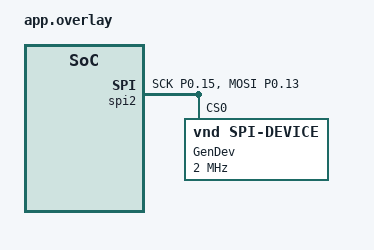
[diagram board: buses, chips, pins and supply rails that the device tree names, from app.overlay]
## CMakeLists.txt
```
cmake_minimum_required(VERSION 3.20.0)
find_package(Zephyr REQUIRED HINTS $ENV{ZEPHYR_BASE})

project(eink)

target_sources(app PRIVATE 
    src/main.c
    src/eink.c
    src/eink.h
)
```

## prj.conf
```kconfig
#Enable spi
CONFIG_SPI=y



#logging
CONFIG_LOG=y
CONFIG_LOG_DEFAULT_LEVEL=2
CONFIG_CONSOLE=y
CONFIG_PRINTK=y
CONFIG_USE_SEGGER_RTT=y
CONFIG_RTT_CONSOLE=y
CONFIG_UART_CONSOLE=n
CONFIG_SEGGER_RTT_BUFFER_SIZE_UP=4096
CONFIG_CBPRINTF_FP_SUPPORT=y
```

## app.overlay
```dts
#include <zephyr/dt-bindings/input/input-event-codes.h>
#include <zephyr/dt-bindings/pinctrl/nrf-pinctrl.h>



&pinctrl {
	spi2_default: spi2_default {
		group1 {
			psels = <NRF_PSEL(SPIM_SCK, 0, 15)>,
				<NRF_PSEL(SPIM_MOSI, 0, 13)>;
		};
	};
	spi2_sleep: spi2_sleep {
		group1 {
			psels = <NRF_PSEL(SPIM_SCK, 0, 15)>,
				<NRF_PSEL(SPIM_MOSI, 0, 13)>;
		};
	};
};

&spi2 {
        compatible = "nordic,nrf-spi";
        status = "okay";
        pinctrl-0 = <&spi2_default>;
        pinctrl-1 = <&spi2_sleep>;
        pinctrl-names = "default", "sleep";
        
        gendev: gendev@0 {
                compatible = "vnd,spi-device";
                reg = <0>;
                spi-max-frequency = <2000000>;
                label = "GenDev";
        };
};
```

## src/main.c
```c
#include <zephyr/kernel.h>
#include <zephyr/sys/printk.h>
#include "eink.h"
#include "draw.c"

int main(void)
{
        

        printk("Started\n");
        if (eink_init() != 0)
        {
                printk("Failed to initialize eink\n");
                return -1;
        }
        //Clear();

        //Reset();
        // Clear();

        // while (1) {
        //     k_sleep(K_SECONDS(5));
        // }

        // saveRawPBM("battery_0.pbm", (uint8_t*)batt[0], 48, 8);

        card_record_t austinCard;
        austinCard.valid = 1;
        strcpy(austinCard.first_name, "austin");
        strcpy(austinCard.last_name, "Lugo");
        strcpy(austinCard.last_four, "1234");
        displayCard(austinCard);

        printk("Passed card");
        char *errMsg = "err";
        displayErr(errMsg);
        // Display(frameBuffer);



        k_sleep(K_MSEC(2000)); // wait for 2 seconds
        char *msg = "Hello World";
        displayErr(msg);
        // k_busy_wait(1000000); // wait for 5 seconds
        //  displayBattery(4); // Display full battery level

        // k_busy_wait(1000000); // wait for 5 seconds
        displayBattery(0); // Display empty battery level

        return 0;
}
```

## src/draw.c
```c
#include <stdlib.h>
#include <stdint.h>
#include <string.h>
#include <stdio.h>
#include "eink.h"

void saveRawPBM(const char* filename, uint8_t* buffer, int width, int height);
int draw(char* string, int x, int y);
int drawScaled(char* string, int startX, int startY);
int drawLarge(char* string);
void reset_framebuff();
void drawCentered(char* string);

#define WIDTH 256
#define HEIGHT 120


uint8_t frameBuffer[IMG_BUF_SIZE];
uint8_t frameBufferCpy[IMG_BUF_SIZE];

static inline void setTransformedPixel(int x_src, int y_src) {
    if (x_src < 0 || x_src >= WIDTH || y_src < 0 || y_src >= HEIGHT) {
        return;
    }

    int x_dst = (EPD_WIDTH - 1) - (HEIGHT - 1 - y_src);
    int y_dst = (EPD_HEIGHT - 1) - x_src;  // keep the existing rotation

    if (x_dst < 0 || x_dst >= EPD_WIDTH || y_dst < 0 || y_dst >= EPD_HEIGHT) {
        return;
    }

    int bytesPerRow = (EPD_WIDTH + 7) / 8;
    int dstIndex = y_dst * bytesPerRow + (x_dst / 8);
    int dstBit = 7 - (x_dst % 8);

    frameBuffer[dstIndex] |= (1 << dstBit);
}

uint8_t alph[][12]={
/*-- 0  --*/
{0x00,0x00,0x70,0x88,0x88,0x88,0x88,0x88,0x88,0x70,0x00,0x00},
/*-- 1  --*/
{0x00,0x00,0x20,0x60,0x20,0x20,0x20,0x20,0x20,0x70,0x00,0x00},
/*-- 2  --*/
{0x00,0x00,0x70,0x88,0x88,0x10,0x20,0x40,0x80,0xF8,0x00,0x00},
/*-- 3  --*/
{0x00,0x00,0x70,0x88,0x08,0x30,0x08,0x08,0x88,0x70,0x00,0x00},
/*-- 4  --*/
{0x00,0x00,0x10,0x30,0x50,0x50,0x90,0x78,0x10,0x18,0x00,0x00},
/*-- 5  --*/
{0x00,0x00,0xF8,0x80,0x80,0xF0,0x08,0x08,0x88,0x70,0x00,0x00},
/*-- 6  --*/
{0x00,0x00,0x70,0x90,0x80,0xF0,0x88,0x88,0x88,0x70,0x00,0x00},
/*-- 7  --*/
{0x00,0x00,0xF8,0x90,0x10,0x20,0x20,0x20,0x20,0x20,0x00,0x00},
/*-- 8  --*/
{0x00,0x00,0x70,0x88,0x88,0x70,0x88,0x88,0x88,0x70,0x00,0x00},
/*-- 9  --*/
{0x00,0x00,0x70,0x88,0x88,0x88,0x78,0x08,0x48,0x70,0x00,0x00},

/*-- a  --*/
{0x00,0x00,0x00,0x00,0x00,0x30,0x48,0x38,0x48,0x3C,0x00,0x00},
/*-- b  --*/
{0x00,0x00,0xC0,0x40,0x40,0x70,0x48,0x48,0x48,0x70,0x00,0x00},
/*-- c  --*/
{0x00,0x00,0x00,0x00,0x00,0x38,0x48,0x40,0x40,0x38,0x00,0x00},
/*-- d  --*/
{0x00,0x00,0x18,0x08,0x08,0x38,0x48,0x48,0x48,0x3C,0x00,0x00},
/*-- e  --*/
{0x00,0x00,0x00,0x00,0x00,0x30,0x48,0x78,0x40,0x38,0x00,0x00},
/*-- f  --*/
{0x00,0x00,0x1C,0x20,0x20,0x78,0x20,0x20,0x20,0x78,0x00,0x00},
/*-- g  --*/
{0x00,0x00,0x00,0x00,0x00,0x3C,0x48,0x30,0x40,0x78,0x44,0x38},
/*-- h  --*/
{0x00,0x00,0xC0,0x40,0x40,0x70,0x48,0x48,0x48,0xEC,0x00,0x00},
/*-- i  --*/
{0x00,0x00,0x20,0x00,0x00,0x60,0x20,0x20,0x20,0x70,0x00,0x00},
/*-- j  --*/
{0x00,0x00,0x10,0x00,0x00,0x30,0x10,0x10,0x10,0x10,0x10,0xE0},
/*-- k  --*/
{0x00,0x00,0xC0,0x40,0x40,0x5C,0x50,0x70,0x48,0xEC,0x00,0x00},
/*-- l  --*/
{0x00,0x00,0xE0,0x20,0x20,0x20,0x20,0x20,0x20,0xF8,0x00,0x00},
/*-- m  --*/
{0x00,0x00,0x00,0x00,0x00,0xF0,0xA8,0xA8,0xA8,0xA8,0x00,0x00},
/*-- n  --*/
{0x00,0x00,0x00,0x00,0x00,0xF0,0x48,0x48,0x48,0xEC,0x00,0x00},
/*-- o  --*/
{0x00,0x00,0x00,0x00,0x00,0x30,0x48,0x48,0x48,0x30,0x00,0x00},
/*-- p  --*/
{0x00,0x00,0x00,0x00,0x00,0xF0,0x48,0x48,0x48,0x70,0x40,0xE0},
/*-- q  --*/
{0x00,0x00,0x00,0x00,0x00,0x38,0x48,0x48,0x48,0x38,0x08,0x1C},
/*-- r  --*/
{0x00,0x00,0x00,0x00,0x00,0xD8,0x60,0x40,0x40,0xE0,0x00,0x00},
/*-- s  --*/
{0x00,0x00,0x00,0x00,0x00,0x78,0x40,0x30,0x08,0x78,0x00,0x00},
/*-- t  --*/
{0x00,0x00,0x00,0x20,0x20,0x70,0x20,0x20,0x20,0x18,0x00,0x00},
/*-- u  --*/
{0x00,0x00,0x00,0x00,0x00,0xD8,0x48,0x48,0x48,0x3C,0x00,0x00},
/*-- v  --*/
{0x00,0x00,0x00,0x00,0x00,0xEC,0x48,0x50,0x30,0x20,0x00,0x00},
/*-- w  --*/
{0x00,0x00,0x00,0x00,0x00,0xA8,0xA8,0x70,0x50,0x50,0x00,0x00},
/*-- x  --*/
{0x00,0x00,0x00,0x00,0x00,0xD8,0x50,0x20,0x50,0xD8,0x00,0x00},
/*-- y  --*/
{0x00,0x00,0x00,0x00,0x00,0xEC,0x48,0x50,0x30,0x20,0x20,0xC0},
/*-- z  --*/
{0x00,0x00,0x00,0x00,0x00,0x78,0x10,0x20,0x20,0x78,0x00,0x00},

/*--     --*/
{0x00,0x00,0x00,0x00,0x00,0x00,0x00,0x00,0x00,0x00,0x00,0x00},
/*-- Error --*/
{0xAA,0x55,0xAA,0x55,0xAA,0x55,0xAA,0x55,0xAA,0x55,0xAA,0x55},
};   

static uint16_t alph_scaled[sizeof(alph) / sizeof(alph[0])][24];
static int alph_scaled_ready = 0;

static void buildAlphScaled(float scale, int out_width, int out_height, uint16_t* output, int row_size) {
    int chars = sizeof(alph) / sizeof(alph[0]);
    for (int ci = 0; ci < chars; ci++) {
        for (int ry = 0; ry < out_height; ry++) {
            int sy = (int)((ry * 12) / out_height);
            if (sy >= 12) sy = 11;
            uint16_t row = 0;
            for (int rx = 0; rx < out_width; rx++) {
                int sx = (int)((rx * 8) / out_width);
                if (sx >= 8) sx = 7;
                if (alph[ci][sy] & (1 << (7 - sx))) {
                    row |= (1u << (15 - rx));
                }
            }
            output[ci * row_size + ry] = row;
        }
    }
}

static int twoXWidth = 16;
static int twoXHeight = 24;
static int vertical_border = 4;
static int horizontal_border = 10;
static void buildAlph2x(void) {
    if (alph_scaled_ready) {
        return;
    }
    buildAlphScaled(2.0, twoXWidth, twoXHeight, (uint16_t*)alph_scaled, twoXHeight);
    alph_scaled_ready = 1;
}

const uint16_t digits[11][24] = {
    // 0
    {
        0x0000,0x0000,0x0000,0x0000,
        0x1F80,0x30C0,0x6060,0x6060,
        0x60E0,0x61E0,0x6360,0x6660,
        0x6C60,0x7860,0x7060,0x6060,
        0x6060,0x30C0,0x1F80,0x0000,
        0x0000,0x0000,0x0000,0x0000
    },

    // 1
    {
        0x0000,0x0000,0x0000,0x0000,
        0x0E00,0x1E00,0x3600,0x2600,
        0x0600,0x0600,0x0600,0x0600,
        0x0600,0x0600,0x0600,0x0600,
        0x0600,0x0600,0x3FC0,0x0000,
        0x0000,0x0000,0x0000,0x0000
    },

    // 2
    {
        0x0000,0x0000,0x0000,0x0000,
        0x1F80,0x30C0,0x6060,0x0060,
        0x0060,0x0060,0x00C0,0x0180,
        0x0300,0x0600,0x0C00,0x1800,
        0x3000,0x6060,0x7FE0,0x0000,
        0x0000,0x0000,0x0000,0x0000
    },

    // 3
    {
        0x0000,0x0000,0x0000,0x0000,
        0x1F80,0x30C0,0x6060,0x0060,
        0x0060,0x00C0,0x0F80,0x00C0,
        0x0060,0x0060,0x0060,0x0060,
        0x6060,0x30C0,0x1F80,0x0000,
        0x0000,0x0000,0x0000,0x0000
    },

    // 4
    {
        0x0000,0x0000,0x0000,0x0000,
        0x6000,0x6000,0x6000,0x6180,
        0x6180,0x6180,0x6180,0x6180,
        0x6180,0x6180,0x7FE0,0x0180,
        0x0180,0x0180,0x0180,0x0000,
        0x0000,0x0000,0x0000,0x0000
    },

    // 5
    {
        0x0000,0x0000,0x0000,0x0000,
        0x7FE0,0x6060,0x6000,0x6000,
        0x6000,0x6000,0x7F80,0x00C0,
        0x0060,0x0060,0x0060,0x0060,
        0x6060,0x30C0,0x1F80,0x0000,
        0x0000,0x0000,0x0000,0x0000
    },

    // 6
    {
        0x0000,0x0000,0x0000,0x0000,
        0x1FC0,0x3060,0x6000,0x6000,
        0x6000,0x6000,0x7F80,0x60C0,
        0x6060,0x6060,0x6060,0x6060,
        0x6060,0x30C0,0x1F80,0x0000,
        0x0000,0x0000,0x0000,0x0000
    },

    // 7
    {
        0x0000,0x0000,0x0000,0x0000,
        0x7FE0,0x6060,0x0060,0x0060,
        0x0060,0x00C0,0x0180,0x0300,
        0x0600,0x0C00,0x0C00,0x0C00,
        0x0C00,0x0C00,0x0C00,0x0000,
        0x0000,0x0000,0x0000,0x0000
    },

    // 8
    {
        0x0000,0x0000,0x0000,0x0000,
        0x1F80,0x30C0,0x6060,0x6060,
        0x6060,0x30C0,0x1F80,0x30C0,
        0x6060,0x6060,0x6060,0x6060,
        0x6060,0x30C0,0x1F80,0x0000,
        0x0000,0x0000,0x0000,0x0000
    },

    // 9
    {
        0x0000,0x0000,0x0000,0x0000,
        0x1F80,0x30C0,0x6060,0x6060,
        0x6060,0x6060,0x6060,0x3060,
        0x1FE0,0x0060,0x0060,0x0060,
        0x0060,0x60C0,0x3F80,0x0000,
        0x0000,0x0000,0x0000,0x0000
    },
    //BROKEN
    {
    0x0000, 0x0000, 0x0000, 0x0000, 
    0x0000, 0x0000, 0x0000, 0x0000, 
    0x0000, 0x0800, 0x0800, 0x0800, 
    0x6B60, 0x1C70, 0x0800, 0x1C70, 
    0x0800, 0x6B60, 0x0800, 0x0800, 
    0x0000, 0x0000, 0x0000, 0x0000
    }
};


const uint8_t batt[][48] = { //16 x 24
    // =========================
    // 0% EMPTY
    // =========================
    {
        0x00,0x00, 0x00,0x03,0xFF,0xFE,
        0x02,0x00, 0x02,0x02,0x00,0x02,
        0x7E,0x00, 0x02,0x7E,0x00,0x02,
        0x7E,0x00, 0x02,0x7E,0x00,0x02,
        0x7E,0x00, 0x02,0x7E,0x00,0x02,
        0x7E,0x00, 0x02,0x7E,0x00,0x02,
        0x7E,0x00, 0x02,0x02,0x00,0x02,
        0x02,0x00, 0x02,0x03,0xFF,0xFE
    },

    // =========================
    // 25% (low fill)
    // =========================
    {
        0x00,0x00, 0x00,0x03,0xFF,0xFE,
        0x02,0x00, 0x02,0x02,0x00,0x02,
        0x6E,0x00, 0x02,0x6E,0x00,0x02,
        0x6E,0x00, 0x02,0x6E,0x00,0x02,
        0x6E,0x00, 0x02,0x6E,0x00,0x02,
        0x7E,0x00, 0x02,0x7E,0x00,0x02,
        0x7E,0x00, 0x02,0x02,0x00,0x02,
        0x02,0x00, 0x02,0x03,0xFF,0xFE
    },

    // =========================
    // 50%
    // =========================
    {
        0x00,0x00, 0x00,0x03,0xFF,0xFE,
        0x02,0x00, 0x02,0x02,0x00,0x02,
        0x4E,0x00, 0x02,0x4E,0x00,0x02,
        0x4E,0x00, 0x02,0x4E,0x00,0x02,
        0x4E,0x00, 0x02,0x4E,0x00,0x02,
        0x6E,0x00, 0x02,0x6E,0x00,0x02,
        0x7E,0x00, 0x02,0x02,0x00,0x02,
        0x02,0x00, 0x02,0x03,0xFF,0xFE
    },

    // =========================
    // 75%
    // =========================
    {
        0x00,0x00, 0x00,0x03,0xFF,0xFE,
        0x02,0x00, 0x02,0x02,0x00,0x02,
        0x2E,0x00, 0x02,0x2E,0x00,0x02,
        0x2E,0x00, 0x02,0x2E,0x00,0x02,
        0x2E,0x00, 0x02,0x2E,0x00,0x02,
        0x4E,0x00, 0x02,0x4E,0x00,0x02,
        0x7E,0x00, 0x02,0x02,0x00,0x02,
        0x02,0x00, 0x02,0x03,0xFF,0xFE
    },

    // =========================
    // 100% FULL
    // =========================
    {
        0x00,0x00, 0x00,0x03,0xFF,0xFE,
        0x02,0x00, 0x02,0x02,0x00,0x02,
        0xEE,0x00, 0x02,0xEE,0x00,0x02,
        0xEE,0x00, 0x02,0xEE,0x00,0x02,
        0xEE,0x00, 0x02,0xEE,0x00,0x02,
        0xEE,0x00, 0x02,0xEE,0x00,0x02,
        0xEE,0x00, 0x02,0x02,0x00,0x02,
        0x02,0x00, 0x02,0x03,0xFF,0xFE
    }
};
//     { //Empty
//         0x00, 0x00, 0x00, 0x03, 0xFF, 
//         0xFE, 0x02, 0x00, 0x02, 0x02, 
//         0x00, 0x02, 0x7E, 0x00, 0x02, 
//         0x7E, 0x00, 0x02, 0x7E, 0x00, 
//         0x02, 0x7E, 0x00, 0x02, 0x7E, 
//         0x00, 0x02, 0x7E, 0x00, 0x02, 
//         0x7E, 0x00, 0x02, 0x7E, 0x00, 
//         0x02, 0x02, 0x00, 0x02, 0x02, 
//         0x00, 0x02, 0x03, 0xFF, 0xFE, 
//         0x00, 0x00, 0x00
//     },
//     {

//     },
//     { //3/4 Battery
//         0x00, 0x00, 0x00, 0x03, 0xFF,
//         0xFE, 0x02, 0x00, 0x02, 0x02,
//         0x0F, 0x7A, 0x7E, 0x0F, 0x7A,
//         0x7E, 0x0F, 0x7A, 0x7E, 0x0F,
//         0x7A, 0x7E, 0x0F, 0x7A, 0x7E,
//         0x0F, 0x7A, 0x7E, 0x0F, 0x7A,
//         0x7E, 0x0F, 0x7A, 0x7E, 0x0F,
//         0x7A, 0x02, 0x0F, 0x7A, 0x02,
//         0x00, 0x02, 0x03, 0xFF, 0xFE,
//         0x00, 0x00, 0x00
//     },
//     {//Full Battery
//         0x00, 0x00, 0x00, 0x03, 0xFF,
//         0xFE, 0x02, 0x00, 0x02, 0x02,
//         0xEF, 0x7A, 0x7E, 0xEF, 0x7A,
//         0x7E, 0xEF, 0x7A, 0x7E, 0xEF,
//         0x7A, 0x7E, 0xEF, 0x7A, 0x7E,
//         0xEF, 0x7A, 0x7E, 0xEF, 0x7A,
//         0x7E, 0xEF, 0x7A, 0x7E, 0xEF,
//         0x7A, 0x02, 0xEF, 0x7A, 0x02,
//         0x00, 0x02, 0x03, 0xFF, 0xFE,
//         0x00, 0x00, 0x00
//     }

// };

// int main() {



//     //drawCentered("********01234");
//     drawLarge("WOW letters and numbers only 12345");
//     //saveRawPBM("Out.pbm", frameBuffer, WIDTH, HEIGHT);
//     printf("We done");
// }



void drawCentered(char* string) {
    int len = strlen(string);
    int startX = 0;
    int startY = (HEIGHT - 24) / 2;

    for (int i = 0; i < len; i++) {
        // 2. Get character data (using your previous mapping logic)
        const uint16_t* drawChar;
        char c = string[i];
        
        if (c >= '0' && c <= '9')      drawChar = digits[c - '0'];
        else                           drawChar = digits[11];

        // 3. Draw the character
        for (int j = 0; j < 24; j++) {
            uint16_t rowData = drawChar[j];
            int currentY = startY + j;
            
            // Calculate pixel position for the start of this character
            int currentX = startX + (i * 12);

            // Since we are bit-packed, we have to be careful with 12-pixel widths.
            // We draw bit-by-bit to ensure we don't overwrite neighboring chars.
            for (int bit = 0; bit < 12; bit++) {
                if (rowData & (1 << (15 - bit))) {
                    int pixelX = currentX + bit;
                    setTransformedPixel(pixelX, currentY);
                }
            }
        }
    }
}

int displayCard(card_record_t cardData){
    Reset();
    reset_framebuff();
    if (cardData.valid) {
        drawScaled(cardData.last_four, horizontal_border, vertical_border);
        char fullName[40];
        sprintf(fullName, "%s %s", cardData.first_name, cardData.last_name);
        drawScaled(fullName, horizontal_border, twoXHeight + vertical_border);
    }

    Display(frameBuffer);
    return 0;
}

static void clearSourceRegionToEnd(int startX, int startY) {
    if (startX < 0) startX = 0;
    if (startY < 0) startY = 0;
    if (startX >= WIDTH || startY >= HEIGHT) return;

    for (int y = startY; y < HEIGHT; y++) {
        int x_begin = (y == startY) ? startX : 0;
        for (int x = x_begin; x < WIDTH; x++) {
            int x_dst = (EPD_WIDTH - 1) - (HEIGHT - 1 - y);
            int y_dst = (EPD_HEIGHT - 1) - x;

            if (x_dst < 0 || x_dst >= EPD_WIDTH || y_dst < 0 || y_dst >= EPD_HEIGHT) {
                continue;
            }

            int bytesPerRow = (EPD_WIDTH + 7) / 8;
            int dstIndex = y_dst * bytesPerRow + (x_dst / 8);
            int dstBit = 7 - (x_dst % 8);

            frameBuffer[dstIndex] &= ~(1 << dstBit);
        }
    }
}

int displayErr(char* errMsg){
    Reset();
    if(alph_scaled_ready == 0){
        buildAlph2x();
    }
    int startX = horizontal_border; 
    int startY = (twoXHeight * 3) + vertical_border; 
    clearSourceRegionToEnd(startX, startY);
    drawScaled(errMsg, startX, startY); 
    
    Display(frameBuffer);

    return 0;

}

void displayBattery(int level) {
    Reset();

    if (level < 0) level = 0;
    if (level > 2) level = 2;

    // ----------------------------
    // TEXT LABELS FOR LEVELS
    // ----------------------------
    char* label;

    switch(level) {
        case 0: label = "EMPTY"; break;
        case 1: label = "LOW"; break;
        case 2: label = "FULL"; break;
        default: label = "ERR"; break;
    }

    const int bw = 24;
    const int bh = 16;

    int startX = WIDTH - (2 * bw);
    int startY = 0;

    // ----------------------------
    // 1. CLEAR EXACT SAME TRANSFORMED PIXELS
    // ----------------------------
    for (int y = 0; y < bh; y++) {
        for (int x = 0; x < bw; x++) {

            int x_src = startX + x;
            int y_src = startY + y;

            int x_dst = y_src;
            int y_dst = (EPD_HEIGHT - 1) - x_src;

            if (x_dst < 0 || x_dst >= EPD_WIDTH ||
                y_dst < 0 || y_dst >= EPD_HEIGHT) {
                continue;
            }

            int bytesPerRow = (EPD_WIDTH + 7) / 8;
            int dstIndex = y_dst * bytesPerRow + (x_dst / 8);
            int dstBit = (x_dst % 8);

            frameBuffer[dstIndex] &= ~(1 << dstBit);
        }
    }

    // ----------------------------
    // 2. DRAW TEXT INSTEAD OF ICON
    // ----------------------------
    draw(label, startX, startY);

    Display(frameBuffer);
}

// int clearError(){
//     int startX = horizontal_border;
//     int startY = (twoXHeight * 3) + vertical_border;

//     drawScaled(errMsg, startX, startY);

//     return 0;
// }

void reset_framebuff(){
    buildAlph2x();
    for (int i = 0; i < IMG_BUF_SIZE; i++) {
        frameBuffer[i] = 0;
    }
}

int draw(char* string, int startX, int startY){
    int charPerRow = 16;

    for(int i = 0; string[i] != '\0'; i++){
        if(i >= 10 * charPerRow){
            draw("String too long", startX, startY);
            return -1;
        }

        char curChar = string[i];
        const uint8_t* drawChar;

        if (curChar >= '0' && curChar <= '9') {
            drawChar = alph[curChar - '0'];
        }
        else if (curChar >= 'A' && curChar <= 'Z') {
            drawChar = alph[curChar - 'A' + 10];
        }
        else if (curChar >= 'a' && curChar <= 'z') {
            drawChar = alph[curChar - 'a' + 10];
        }
        else if (curChar == ' ') {
            drawChar = alph[36];
        }
        else {
            drawChar = alph[37];
        }

        int charX = i % charPerRow;
        int charY = i / charPerRow;

        int baseX = startX + charX * 8;
        int baseY = startY + charY * 12;

        for(int j = 0; j < 12; j++) {
            uint8_t row = drawChar[j];
            int y_src = baseY + j;

            for (int bit = 0; bit < 8; bit++) {
                if (row & (1 << (7 - bit))) {
                    int x_src = baseX + bit;
                    setTransformedPixel(x_src, y_src);
                }
            }
        }
    }

    return 0;
}

int drawScaled(char* string, int startX, int startY) {
    int charPerRow = 16;

    for (int i = 0; string[i] != '\0'; i++) {
        if (i >= 10 * charPerRow) {
            return -1;
        }

        const uint16_t* drawChar;
        char c = string[i];

        if (c >= '0' && c <= '9')      drawChar = alph_scaled[c - '0'];
        else if (c >= 'A' && c <= 'Z') drawChar = alph_scaled[c - 'A' + 10];
        else if (c >= 'a' && c <= 'z') drawChar = alph_scaled[c - 'a' + 10];
        else if (c == ' ')             drawChar = alph_scaled[36];
        else                           drawChar = alph_scaled[37];

        int charX = i % charPerRow;
        int charY = i / charPerRow;

        for (int j = 0; j < 24; j++) {
            uint16_t row = drawChar[j];
            int y_src = startY + charY * 24 + j;
            if (y_src >= HEIGHT) continue;

            for (int bit = 0; bit < 16; bit++) {
                if (row & (1 << (15 - bit))) {
                    int x_src = startX + charX * 16 + bit;
                    setTransformedPixel(x_src, y_src);
                }
            }
        }
    }
    return 0;
}

int drawLarge(char* string) {
    reset_framebuff();
    int charPerRow = 16;        // 256 pixels / 16 pixels per char = 16

    for (int i = 0; string[i] != '\0'; i++) {
        if (i >= 5 * charPerRow) {
            reset_framebuff();
            drawLarge("String too long");
            return -1;
        }
        const uint8_t* drawChar;
        char c = string[i];

        if (c >= '0' && c <= '9')      drawChar = alph[c - '0'];
        else if (c >= 'A' && c <= 'Z') drawChar = alph[c - 'A' + 10];
        else if (c >= 'a' && c <= 'z') drawChar = alph[c - 'a' + 10];
        else if (c == ' ')             drawChar = alph[36];
        else                           drawChar = alph[37];

        int charX = i % charPerRow;
        int charY = i / charPerRow;

        for (int j = 0; j < 12; j++) {
            uint8_t fontByte = drawChar[j];
            uint16_t expandedRow = 0;

            for (int bit = 0; bit < 8; bit++) {
                if (fontByte & (1 << (7 - bit))) {
                    expandedRow |= (3 << (14 - (bit * 2)));
                }
            }

            for (int v = 0; v < 2; v++) {
                int pixelRow = (charY * 24) + (j * 2 + v);
                if (pixelRow >= HEIGHT) continue;

                for (int bit = 0; bit < 16; bit++) {
                    if (expandedRow & (1 << (15 - bit))) {
                        int x_src = charX * 16 + bit;
                        int y_src = pixelRow;
                        setTransformedPixel(x_src, y_src);
                    }
                }
            }
        }
    }
    return 0;
}

void saveRawPBM(const char* filename, uint8_t* buffer, int width, int height){
    FILE* f = fopen(filename, "wb");

    fprintf(f, "P4\n%d %d \n", width, height);

    int bufferSize = (width*height)/8;
    fwrite(buffer, 1, bufferSize, f);

    fclose(f);
}
```

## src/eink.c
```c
#include "eink.h"
#include <zephyr/drivers/spi.h>
#include <zephyr/device.h>
#include <hal/nrf_gpio.h>
#include <zephyr/sys/printk.h>



//SPI pin
struct spi_dt_spec spispec = SPI_DT_SPEC_GET(DT_NODELABEL(gendev), SPIOP, 0); //SPI_DT_SPEC_GET(DT_NODELABEL(gendev), SPIOP, 10);


//GPIO pins
static int cs_pin = 3;
static int reset_pin = 29;
static int busy_pin = 0;
static int dc_pin = 4;
// static int test_pin = 17;

//static int debug_pin = 30;



static int count;
static int bufwidth;
static int bufheight;


//Initialize gpios
int eink_init(void) {
    // nrf_gpio_cfg(
    //     dc_pin,
    //     NRF_GPIO_PIN_DIR_OUTPUT,
    //     NRF_GPIO_PIN_INPUT_DISCONNECT,
    //     NRF_GPIO_PIN_NOPULL,
    //     NRF_GPIO_PIN_H0H1,   // ← HIGH DRIVE
    //     NRF_GPIO_PIN_NOSENSE
    // );
    nrf_gpio_cfg_output(dc_pin);
    nrf_gpio_cfg_output(cs_pin);
    nrf_gpio_cfg_input(busy_pin, NRF_GPIO_PIN_PULLUP);
    nrf_gpio_cfg_output(reset_pin);
    //nrf_gpio_cfg_output(debug_pin);
    //nrf_gpio_cfg_output(test_pin);

    bufwidth = 128/8;  //16
    bufheight = 63;
    count = 0;

    //CS and DC pins should be HIGH by default
    DigitalWrite(cs_pin, HIGH);
    DigitalWrite(dc_pin, HIGH);

    //Reset pin initialization
    DigitalWrite(reset_pin, HIGH);
    //DigitalWrite(debug_pin, LOW);
    //DigitalWrite(test_pin, HIGH);

    
    return Init(FULL_MODE);
}

//Write a value to a GPIO pin
void DigitalWrite(int pin, int value) {
    if (value == LOW) {
        nrf_gpio_pin_clear(pin);
    } else {
        nrf_gpio_pin_set(pin);
    }
    
}

//Read a value from a GPIO pin
int DigitalRead(int pin) {
    return nrf_gpio_pin_read(pin);
}

//Send a byte over SPI
void SpiTransfer(unsigned char data) {
    if (!device_is_ready(spispec.bus)) {
        printk("SPI bus not ready\n");
        return;
    }
    DigitalWrite(cs_pin, LOW);
    struct spi_buf buf = {
        .buf = &data,
        .len = 1
    };
    struct spi_buf_set tx_bufs = {
        .buffers = &buf,
        .count = 1
    };
    int ret = spi_write_dt(&spispec, &tx_bufs);
    if (ret < 0) {
        // Handle error (e.g., log or return)
        printk("SPI transfer failed: %d\n", ret);
    }
    DigitalWrite(cs_pin, HIGH);
}



/******************************************************************************
function :	send command
parameter:
     command : Command register
******************************************************************************/
void SendCommand(unsigned char command)
{
    DigitalWrite(dc_pin, LOW);
    SpiTransfer(command);
    //DigitalWrite(dc_pin, HIGH);
    //k_sleep(K_MSEC(1)); // Add a small delay after sending the command
}

/******************************************************************************
function :	send data
parameter:
    Data : Write data
******************************************************************************/
void SendData(unsigned char data)
{
    DigitalWrite(dc_pin, HIGH);
    SpiTransfer(data);
    //k_sleep(K_MSEC(1)); // Add a small delay after sending the data
}

/******************************************************************************
function :	Wait until the busy_pin goes LOW
parameter:
******************************************************************************/
void WaitUntilIdle(void)
{
    int busy_count;
    for(busy_count = 0; busy_count < 1000; busy_count++) {      //LOW: idle, HIGH: busy
        if(DigitalRead(busy_pin) == 0) { //TODO: check this? In the provided code it was 0 but it seems like the eink is pulling it low when busy
            break;
        }
        k_sleep(K_MSEC(1));
        
    }

    //printk("Waited for %d ms\n", (busy_count) * 1);
}

/******************************************************************************
function :	Setting the display window
parameter:
	Xstart : X-axis starting position
	Ystart : Y-axis starting position
	Xend : End position of X-axis
	Yend : End position of Y-axis
******************************************************************************/
void SetWindows(unsigned char Xstart, unsigned char Ystart, unsigned char Xend, unsigned char Yend)
{
    SendCommand(0x44); // SET_RAM_X_ADDRESS_START_END_POSITION
    SendData((Xstart>>3) & 0xFF);
    SendData((Xend>>3) & 0xFF);
	
    SendCommand(0x45); // SET_RAM_Y_ADDRESS_START_END_POSITION
    SendData(Ystart & 0xFF);
    SendData((Ystart >> 8) & 0xFF);
    SendData(Yend & 0xFF);
    SendData((Yend >> 8) & 0xFF);
}

/******************************************************************************
function :	Set Cursor
parameter:
	Xstart : X-axis starting position
	Ystart : Y-axis starting position
******************************************************************************/
void SetCursor(unsigned char Xstart, unsigned char Ystart)
{
    SendCommand(0x4E); // SET_RAM_X_ADDRESS_COUNTER
    SendData(Xstart & 0xFF);

    SendCommand(0x4F); // SET_RAM_Y_ADDRESS_COUNTER
    SendData(Ystart & 0xFF);
    SendData((Ystart >> 8) & 0xFF);
}



/******************************************************************************
function :	Initialize the e-Paper register
parameter:
	Mode : Mode selection
******************************************************************************/
int Init(char Mode)
{
    /* this calls the peripheral hardware interface, see epdif */
    Reset();
    
    //int count;
    if(Mode == FULL_MODE) {
        WaitUntilIdle();
        SendCommand(0x12); // soft reset
        WaitUntilIdle();

        //DigitalWrite(debug_pin, HIGH);
        SendCommand(0x01); //Driver output control
        SendData(0xF9);
        SendData(0x00);
        SendData(0x00);

        SendCommand(0x11); //data entry mode
        SendData(0x03);

		SetWindows(0, 0, EPD_WIDTH-1, EPD_HEIGHT-1);
		SetCursor(0, 0);
		
		SendCommand(0x3C); //BorderWavefrom
		SendData(0x05);	

		SendCommand(0x21); //  Display update control
		SendData(0x00);
		SendData(0x80);	

		SendCommand(0x18); //Read built-in temperature sensor
		SendData(0x80);	
		WaitUntilIdle();
    } 
    else if(Mode == FAST_MODE) {
        WaitUntilIdle();
        SendCommand(0x12); // soft reset
        WaitUntilIdle();

        SendCommand(0x18); // Read built-in temperature sensor
		SendData(0x80);	

        SendCommand(0x11); // data entry mode
        SendData(0x03);

		SetWindows(0, 0, EPD_WIDTH-1, EPD_HEIGHT-1);
		SetCursor(0, 0);
		
		SendCommand(0x22); // Load temperature value
		SendData(0xB1);	
        SendCommand(0x20);
        WaitUntilIdle();

		SendCommand(0x1A); //  Write to temperature register
		SendData(0x64);
		SendData(0x00);	

        SendCommand(0x22); //  Load temperature value
		SendData(0x91);
		SendCommand(0x20);	
		WaitUntilIdle();
    }
    else if(Mode == PART_MODE) {	
		DigitalWrite(reset_pin, LOW);                //module reset
		k_sleep(K_MSEC(1));
		DigitalWrite(reset_pin, HIGH);
		
		SendCommand(0x3C); //BorderWavefrom
		SendData(0x80);	

        SendCommand(0x01); //Driver output control
		SendData(0xF9);	
        SendData(0x00);	
        SendData(0x00);	
	
		SendCommand(0x11); // data entry mode
        SendData(0x03); 
		
		SetWindows(0, 0, EPD_WIDTH-1, EPD_HEIGHT-1);
		SetCursor(0, 0);
    } else {
        return -1;
    }

    return 0;
}

/******************************************************************************
function :	Software reset
parameter:
******************************************************************************/
void Reset(void)
{
    DigitalWrite(reset_pin, HIGH);
    k_sleep(K_MSEC(2));
    DigitalWrite(reset_pin, LOW);     
    k_sleep(K_MSEC(1));
    DigitalWrite(reset_pin, HIGH);
    k_sleep(K_MSEC(2));
    count = 0; 
}

/******************************************************************************
function :	Clear screen
parameter:
******************************************************************************/
void Clear(void)
{
    int w, h;
    w = (EPD_WIDTH % 8 == 0)? (EPD_WIDTH / 8 ): (EPD_WIDTH / 8 + 1);
    h = EPD_HEIGHT;
    SendCommand(0x24);
    for (int j = 0; j < h; j++) {
        for (int i = 0; i < w; i++) {
            SendData(0xff);
        }
    }

    //DISPLAY REFRESH
    SendCommand(0x22);
    SendData(0xf7);
    SendCommand(0x20);
    WaitUntilIdle();
}

/******************************************************************************
function :	Sends the image buffer in RAM to e-Paper and displays
parameter:
	frame_buffer : Image data
******************************************************************************/
void Display(unsigned char* frame_buffer)
{
    int w = (EPD_WIDTH % 8 == 0)? (EPD_WIDTH / 8 ): (EPD_WIDTH / 8 + 1);
    int h = EPD_HEIGHT;

    if (frame_buffer != NULL) {
        SendCommand(0x24);
        for (int j = 0; j < h; j++) {
            for (int i = 0; i < w; i++) {
                SendData(frame_buffer[i + j * w]);
                //printk("%02x", frame_buffer[i + j * w]);
            }
            //printk("\n");
        }
    }

    
    
    
    //DISPLAY REFRESH
    SendCommand(0x22);
    SendData(0xf7);
    SendCommand(0x20);
    WaitUntilIdle();

}

void Display1(unsigned char* frame_buffer) {
    if(count == 0){
        SendCommand(0x24);
        count++;
    }else if(count > 0 && count < 4 ){
        count++;
    }
    for(int i = 0; i < bufwidth * bufheight; i++){
            SendData(frame_buffer[i]);
    }
    if(count == 4){
        SendCommand(0x22);
        SendData(0xf7);
        SendCommand(0x20);
        WaitUntilIdle();
        count = 0;
    }
}

/******************************************************************************
function :	Sends the image buffer in RAM to e-Paper and fast displays
parameter:
	frame_buffer : Image data
******************************************************************************/
void Display_Fast(unsigned char* frame_buffer)
{
    int w = (EPD_WIDTH % 8 == 0)? (EPD_WIDTH / 8 ): (EPD_WIDTH / 8 + 1);
    int h = EPD_HEIGHT;

    if (frame_buffer != NULL) {
        SendCommand(0x24);
        for (int j = 0; j < h; j++) {
            for (int i = 0; i < w; i++) {
                SendData(frame_buffer[i + j * w]);
            }
        }
    }

    //DISPLAY REFRESH
    SendCommand(0x22);
    SendData(0xC7);
    SendCommand(0x20);
    WaitUntilIdle();
}




/******************************************************************************
function :	Refresh a base image
parameter:
	frame_buffer : Image data	
******************************************************************************/
void DisplayPartBaseImage(unsigned char* frame_buffer)
{
    int w = (EPD_WIDTH % 8 == 0)? (EPD_WIDTH / 8 ): (EPD_WIDTH / 8 + 1);
    int h = EPD_HEIGHT;

    if (frame_buffer != NULL) {
        SendCommand(0x24);
        for (int j = 0; j < h; j++) {
            for (int i = 0; i < w; i++) {
                SendData(frame_buffer[i + j * w]);
            }
        }

        SendCommand(0x26);
        for (int j = 0; j < h; j++) {
            for (int i = 0; i < w; i++) {
                SendData(frame_buffer[i + j * w]);
            }
        }
    }

    //DISPLAY REFRESH
    SendCommand(0x22);
    SendData(0xf7);
    SendCommand(0x20);
    WaitUntilIdle();
}

/******************************************************************************
function :	Sends the image buffer in RAM to e-Paper and partial refresh
parameter:
	frame_buffer : Image data
******************************************************************************/
void DisplayPart(unsigned char* frame_buffer)
{
    int w = (EPD_WIDTH % 8 == 0)? (EPD_WIDTH / 8 ): (EPD_WIDTH / 8 + 1);
    int h = EPD_HEIGHT;

    if (frame_buffer != NULL) {
        SendCommand(0x24);
        for (int j = 0; j < h; j++) {
            for (int i = 0; i < w; i++) {
                SendData(frame_buffer[i + j * w]);
            }
        }
    }

    //DISPLAY REFRESH
    SendCommand(0x22);
    SendData(0xff);
    SendCommand(0x20);
    WaitUntilIdle();
}

/******************************************************************************
function :	Clear screen
parameter:
******************************************************************************/
void ClearPart(void)
{
    int w, h;
    w = (EPD_WIDTH % 8 == 0)? (EPD_WIDTH / 8 ): (EPD_WIDTH / 8 + 1);
    h = EPD_HEIGHT;
    SendCommand(0x24);
    for (int j = 0; j < h; j++) {
        for (int i = 0; i < w; i++) {
            SendData(0xff);
        }
    }

    //DISPLAY REFRESH
    SendCommand(0x22);
    SendData(0x0f);
    SendCommand(0x20);
    WaitUntilIdle();
}

/******************************************************************************/
void DisplayPartial(int x_start, int y_start, int x_end, int y_end, unsigned char* frame_buffer)
{
    SetWindows(x_start, y_start, x_end, y_end);
    SetCursor(x_start, y_start);

    int w = (EPD_WIDTH % 8 == 0)? (EPD_WIDTH / 8 ): (EPD_WIDTH / 8 + 1);

    SendCommand(0x24);
    for (int j = y_start; j <= y_end; j++) {
        for (int i = (x_start / 8); i <= (x_end / 8); i++) {
            SendData(frame_buffer[i + j * w]);
        }
    }

    // Partial refresh
    SendCommand(0x22);
    SendData(0xff);
    SendCommand(0x20);
    WaitUntilIdle();
}

/******************************************************************************
function :	Enter sleep mode
parameter:
******************************************************************************/
void Sleep()
{
    SendCommand(0x10); //enter deep sleep
    SendData(0x01);
    k_msleep(200);

    DigitalWrite(reset_pin, LOW);
}

/* END OF FILE */
```

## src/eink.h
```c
#ifndef EINK_H
#define EINK_H

#include <zephyr/drivers/spi.h>
#include <zephyr/drivers/gpio.h>
#include <stdint.h>
#include <stdlib.h>


typedef struct {
    int valid;
    char first_name[20];
    char last_name[20];
    char last_four[6];
} card_record_t;


// Display resolution
#define EPD_WIDTH       122
#define EPD_HEIGHT      250
#define IMG_BUF_SIZE ((EPD_WIDTH % 8 == 0)? (EPD_WIDTH / 8 ): (EPD_WIDTH / 8 + 1)) * EPD_HEIGHT


#define FULL_MODE			0
#define FAST_MODE			1
#define PART_MODE			2

#define SPIOP      SPI_WORD_SET(8) | SPI_TRANSFER_MSB | SPI_OP_MODE_MASTER 
#define LOW       0
#define HIGH      1

// static const struct gpio_dt_spec dc_pin;
// static const struct gpio_dt_spec busy_pin;
// static const struct gpio_dt_spec reset_pin;
// extern int dc_pin;
// extern int busy_pin;
// extern int reset_pin;

// extern int count;
// extern int bufwidth;
// extern int bufheight;



int eink_init(void);
void SpiTransfer(unsigned char data);
void DigitalWrite(int pin, int value);
int DigitalRead(int pin);


void SendCommand(unsigned char command);
void SendData(unsigned char data);
void WaitUntilIdle(void);
void SetWindows(unsigned char Xstart, unsigned char Ystart, unsigned char Xend, unsigned char Yend);
void SetCursor(unsigned char Xstart, unsigned char Ystart);
int Init(char Mode);
void Reset(void);
void Clear(void);
void Display(unsigned char* frame_buffer);
void DisplayPart(unsigned char* frame_buffer);
void Display1(unsigned char* frame_buffer);
void Display_Fast(unsigned char* frame_buffer);   
void DisplayPartBaseImage(unsigned char* frame_buffer);
void DisplayPart(unsigned char* frame_buffer);
void ClearPart(void);
void DisplayPartial(int x_start, int y_start, int x_end, int y_end, unsigned char* frame_buffer);
void Sleep();

#endif // EINK_H
```
